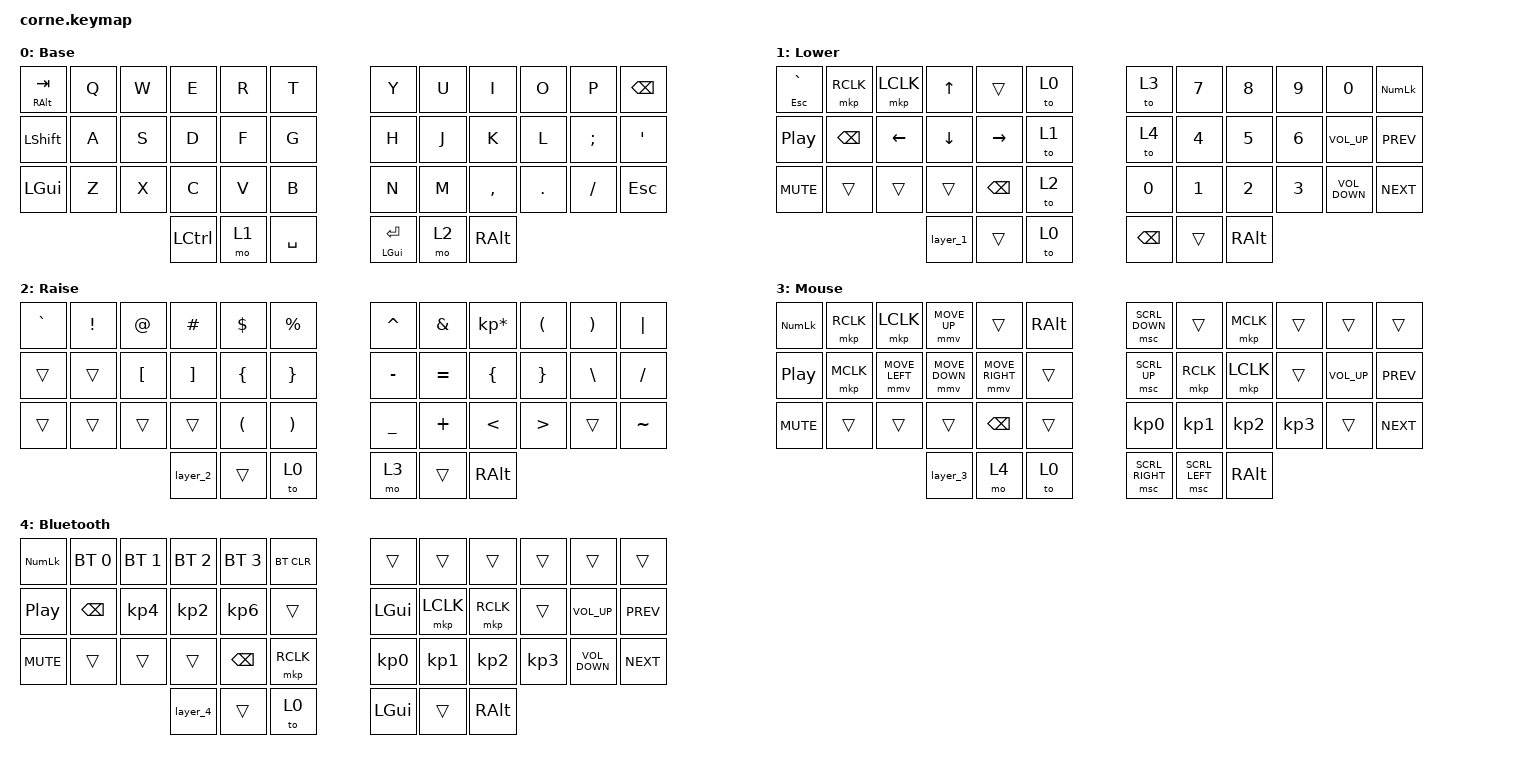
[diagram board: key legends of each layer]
/*
 * Copyright (c) 2020 The ZMK Contributors
 *
 * SPDX-License-Identifier: MIT
 */

 // test keymaps here https://nickcoutsos.github.io/keymap-editor/

#include <behaviors.dtsi>
#include <dt-bindings/zmk/keys.h>
#include <dt-bindings/zmk/bt.h>
#include <dt-bindings/zmk/mouse.h>
#include <dt-bindings/zmk/pointing.h>
#include <dt-bindings/zmk/outputs.h>
#define ZMK_POINTING_DEFAULT_MOVE_VAL 1500 



/ {
            macros {
                layer_0: layer_0 {
                    label = "LAYER_ZERO";
                    compatible = "zmk,behavior-macro";
                    #binding-cells = <0>;
                    bindings = <&macro_tap &kp L &kp A &kp Y &kp E &kp R &kp SPACE &kp N0>;
                };
                layer_1: layer_1 {
                    label = "LAYER_ONE";
                    compatible = "zmk,behavior-macro";
                    #binding-cells = <0>;
                    bindings = <&macro_tap &kp L &kp A &kp Y &kp E &kp R &kp SPACE &kp N1>;
                };
                layer_2: layer_2 {
                    label = "LAYER_TWO";
                    compatible = "zmk,behavior-macro";
                    #binding-cells = <0>;
                    bindings = <&macro_tap &kp L &kp A &kp Y &kp E &kp R &kp SPACE &kp N2>;
                };
                layer_3: layer_3 {
                    label = "LAYER_THREE";
                    compatible = "zmk,behavior-macro";
                    #binding-cells = <0>;
                    bindings = <&macro_tap &kp L &kp A &kp Y &kp E &kp R &kp SPACE &kp N3>;
                };
                layer_4: layer_4 {
                    label = "LAYER_FOUR";
                    compatible = "zmk,behavior-macro";
                    #binding-cells = <0>;
                    bindings = <&macro_tap &kp L &kp A &kp Y &kp E &kp R &kp SPACE &kp N4>;
                };
            };

         keymap {
                compatible = "zmk,keymap";

                default_layer {
                        display-name = "Base";

      bindings = <
// ╭───────────────┬───────────────┬───────────────┬───────────────┬───────────────┬───────────────╮   ╭───────────────┬───────────────┬───────────────┬───────────────┬───────────────┬───────────────╮
//  0               1               2               3               4               5                   6               7               8               9               10              11
    &mt RALT TAB    &kp Q           &kp W           &kp E           &kp R           &kp T               &kp Y           &kp U           &kp I           &kp O           &kp P           &kp BSPC
// ├───────────────├───────────────┼───────────────┼───────────────┼───────────────┼───────────────┤   ├───────────────├───────────────┼───────────────┼───────────────┼───────────────┼───────────────┤
//  12              13              14              15              16              17                  18              19              20              21              22              23
    &kp LSHFT       &kp A           &kp S           &kp D           &kp F           &kp G               &kp H           &kp J           &kp K           &kp L           &kp SEMI        &kp SINGLE_QUOTE
// ├───────────────├───────────────┼───────────────┼───────────────┼───────────────┼───────────────┤   ├───────────────├───────────────┼───────────────┼───────────────┼───────────────┼───────────────┤
//  24              25              26              27              28              29                  30              31              32              33              34              35
    &kp LGUI        &kp Z           &kp X           &kp C           &kp V           &kp B               &kp N           &kp M           &kp COMMA       &kp DOT         &kp FSLH        &kp ESC
// ╰───────────────┴───────────────┴───────────────┼───────────────┼───────────────┼───────────────┤   ├───────────────├───────────────┼───────────────┼───────────────┴───────────────┴───────────────╯
//                                                  36              37              38                  39              40              41
                                                    &kp LCTRL       &mo 1           &kp SPACE           &mt LGUI RET    &mo 2           &kp RALT
//                                                 ╰───────────────┴───────────────┴───────────────╯   ╰───────────────┴───────────────┴───────────────╯
      >;


                };
                lower_layer {
                        display-name = "Lower";

      bindings = <
// ╭───────────────┬───────────────┬───────────────┬───────────────┬───────────────┬───────────────╮   ╭───────────────┬───────────────┬───────────────┬───────────────┬───────────────┬───────────────╮
//  0               1               2               3               4               5                   6               7               8               9               10              11
    &mt ESC GRAVE   &mkp RCLK       &mkp LCLK       &kp UP          &trans          &to 0               &to 3           &kp N7          &kp N8          &kp N9          &kp N0          &kp KP_NUMLOCK
// ├───────────────├───────────────┼───────────────┼───────────────┼───────────────┼───────────────┤   ├───────────────├───────────────┼───────────────┼───────────────┼───────────────┼───────────────┤
//  12              13              14              15              16              17                  18              19              20              21              22              23
    &kp C_PLAY_PAUSE &kp BSPC       &kp LEFT        &kp DOWN        &kp RIGHT       &to 1               &to 4           &kp N4          &kp N5          &kp N6          &kp K_VOLUME_UP &kp C_PREV
// ├───────────────├───────────────┼───────────────┼───────────────┼───────────────┼───────────────┤   ├───────────────├───────────────┼───────────────┼───────────────┼───────────────┼───────────────┤
//  24              25              26              27              28              29                  30              31              32              33              34              35
    &kp C_MUTE      &trans          &trans          &trans          &kp BSPC        &to 2               &kp N0          &kp N1          &kp N2          &kp N3          &kp K_VOLUME_DOWN &kp C_NEXT
// ╰───────────────┴───────────────┴───────────────┼───────────────┼───────────────┼───────────────┤   ├───────────────├───────────────┼───────────────┼───────────────┴───────────────┴───────────────╯
//                                                  36              37              38                  39              40              41
                                                    &layer_1        &trans          &to 0               &kp BSPC        &trans          &kp RALT
//                                                 ╰───────────────┴───────────────┴───────────────╯   ╰───────────────┴───────────────┴───────────────╯
      >;

                };

                raise_layer {
                        display-name = "Raise";

      bindings = <
// ╭───────────────┬───────────────┬───────────────┬───────────────┬───────────────┬───────────────╮   ╭───────────────┬───────────────┬───────────────┬───────────────┬───────────────┬───────────────╮
//  0               1               2               3               4               5                   6               7               8               9               10              11
    &kp GRAVE       &kp EXCL        &kp AT          &kp HASH        &kp DLLR        &kp PRCNT           &kp CARET       &kp AMPS        &kp KP_MULTIPLY &kp LPAR        &kp RPAR        &kp PIPE
// ├───────────────├───────────────┼───────────────┼───────────────┼───────────────┼───────────────┤   ├───────────────├───────────────┼───────────────┼───────────────┼───────────────┼───────────────┤
//  12              13              14              15              16              17                  18              19              20              21              22              23
    &trans          &trans          &kp LBKT        &kp RBKT        &kp LBRC        &kp RBRC            &kp MINUS       &kp EQUAL       &kp LBRC        &kp RBRC        &kp BSLH        &kp SLASH
// ├───────────────├───────────────┼───────────────┼───────────────┼───────────────┼───────────────┤   ├───────────────├───────────────┼───────────────┼───────────────┼───────────────┼───────────────┤
//  24              25              26              27              28              29                  30              31              32              33              34              35
    &trans          &trans          &trans          &trans          &kp LPAR        &kp RPAR            &kp UNDER       &kp PLUS        &kp LT          &kp GT          &trans          &kp TILDE
// ╰───────────────┴───────────────┴───────────────┼───────────────┼───────────────┼───────────────┤   ├───────────────├───────────────┼───────────────┼───────────────┴───────────────┴───────────────╯
//                                                  36              37              38                  39              40              41
                                                    &layer_2        &trans          &to 0               &mo 3           &trans          &kp RALT
//                                                 ╰───────────────┴───────────────┴───────────────╯   ╰───────────────┴───────────────┴───────────────╯
      >;
                };
                mouse_layer {
                        display-name = "Mouse";

      bindings = <
// ╭───────────────┬───────────────┬───────────────┬───────────────┬───────────────┬───────────────╮   ╭───────────────┬───────────────┬───────────────┬───────────────┬───────────────┬───────────────╮
//  0               1               2               3               4               5                   6               7               8               9               10              11
    &kp KP_NUMLOCK  &mkp RCLK       &mkp LCLK       &mmv MOVE_UP    &trans          &kp RALT            &msc SCRL_DOWN  &trans          &mkp MCLK       &trans          &trans          &trans
// ├───────────────├───────────────┼───────────────┼───────────────┼───────────────┼───────────────┤   ├───────────────├───────────────┼───────────────┼───────────────┼───────────────┼───────────────┤
//  12              13              14              15              16              17                  18              19              20              21              22              23
    &kp C_PLAY_PAUSE &mkp MCLK      &mmv MOVE_LEFT  &mmv MOVE_DOWN  &mmv MOVE_RIGHT &trans              &msc SCRL_UP    &mkp RCLK       &mkp LCLK        &trans          &kp K_VOLUME_UP &kp C_PREV
// ├───────────────├───────────────┼───────────────┼───────────────┼───────────────┼───────────────┤   ├───────────────├───────────────┼───────────────┼───────────────┼───────────────┼───────────────┤
//  24              25              26              27              28              29                  30              31              32              33              34              35
    &kp C_MUTE      &trans          &trans          &trans          &kp BSPC        &trans              &kp KP_NUMBER_0 &kp KP_NUMBER_1 &kp KP_NUMBER_2 &kp KP_NUMBER_3 &trans           &kp C_NEXT
// ╰───────────────┴───────────────┴───────────────┼───────────────┼───────────────┼───────────────┤   ├───────────────├───────────────┼───────────────┼───────────────┴───────────────┴───────────────╯
//                                                  36              37              38                  39              40              41
                                                    &layer_3        &mo 4           &to 0               &msc SCRL_RIGHT &msc SCRL_LEFT  &kp RALT
//                                                 ╰───────────────┴───────────────┴───────────────╯   ╰───────────────┴───────────────┴───────────────╯
      >;

                };
                bt_layer {
                        display-name = "Bluetooth";

      bindings = <
// ╭───────────────┬───────────────┬───────────────┬───────────────┬───────────────┬───────────────╮   ╭───────────────┬───────────────┬───────────────┬───────────────┬───────────────┬───────────────╮
//  0               1               2               3               4               5                   6               7               8               9               10              11
    &kp KP_NUMLOCK  &bt BT_SEL 0    &bt BT_SEL 1    &bt BT_SEL 2    &bt BT_SEL 3    &bt BT_CLR          &trans           &trans          &trans          &trans          &trans          &trans
// ├───────────────├───────────────┼───────────────┼───────────────┼───────────────┼───────────────┤   ├───────────────├───────────────┼───────────────┼───────────────┼───────────────┼───────────────┤
//  12              13              14              15              16              17                  18              19              20              21              22              23
    &kp C_PLAY_PAUSE &kp BSPC       &kp KP_NUMBER_4 &kp KP_NUMBER_2 &kp KP_NUMBER_6 &trans              &kp LGUI        &mkp LCLK       &mkp RCLK        &trans          &kp K_VOLUME_UP &kp C_PREV
// ├───────────────├───────────────┼───────────────┼───────────────┼───────────────┼───────────────┤   ├───────────────├───────────────┼───────────────┼───────────────┼───────────────┼───────────────┤
//  24              25              26              27              28              29                  30              31              32              33              34              35
    &kp C_MUTE      &trans          &trans          &trans          &kp BSPC        &mkp RCLK           &kp KP_NUMBER_0 &kp KP_NUMBER_1 &kp KP_NUMBER_2 &kp KP_NUMBER_3 &kp K_VOLUME_DOWN &kp C_NEXT
// ╰───────────────┴───────────────┴───────────────┼───────────────┼───────────────┼───────────────┤   ├───────────────├───────────────┼───────────────┼───────────────┴───────────────┴───────────────╯
//                                                  36              37              38                  39              40              41
                                                    &layer_4        &trans          &to 0               &kp LGUI        &trans          &kp RALT
//                                                 ╰───────────────┴───────────────┴───────────────╯   ╰───────────────┴───────────────┴───────────────╯
      >;

                };
        };
};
